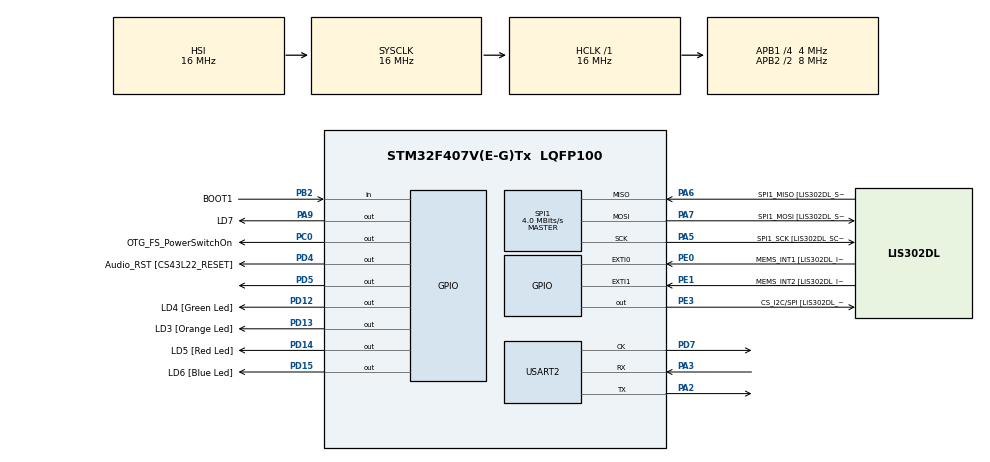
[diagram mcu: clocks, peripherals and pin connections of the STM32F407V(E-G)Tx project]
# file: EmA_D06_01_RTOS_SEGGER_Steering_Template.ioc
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Mcu.Family=STM32F4
Mcu.Name=STM32F407V(E-G)Tx
Mcu.Package=LQFP100
NVIC.EXTI0_IRQn=true\:7\:0\:true\:false\:true\:true\:true\:true
NVIC.PriorityGroup=NVIC_PRIORITYGROUP_4
NVIC.TIM6_DAC_IRQn=true\:5\:0\:true\:false\:true\:true\:true\:true
NVIC.TIM7_IRQn=true\:6\:0\:true\:false\:true\:true\:true\:true
NVIC.TIM8_UP_TIM13_IRQn=true\:15\:0\:false\:false\:true\:false\:true\:true
NVIC.TimeBase=TIM8_UP_TIM13_IRQn
NVIC.TimeBaseIP=TIM8
PA10.GPIO_Label=OTG_FS_ID
PA10.GPIO_Mode=GPIO_MODE_AF_PP
PA10.GPIO_PuPd=GPIO_NOPULL
PA10.GPIO_Speed=GPIO_SPEED_FREQ_LOW
PA10.Signal=USB_OTG_FS_ID
PA11.GPIO_Label=OTG_FS_DM
PA11.GPIO_Mode=GPIO_MODE_AF_PP
PA11.GPIO_PuPd=GPIO_NOPULL
PA11.GPIO_Speed=GPIO_SPEED_FREQ_LOW
PA11.Signal=USB_OTG_FS_DM
PA12.GPIO_Label=OTG_FS_DP
PA12.GPIO_Mode=GPIO_MODE_AF_PP
PA12.GPIO_PuPd=GPIO_NOPULL
PA12.GPIO_Speed=GPIO_SPEED_FREQ_LOW
PA12.Signal=USB_OTG_FS_DP
PA13.GPIO_Label=SWDIO
PA13.Mode=Serial_Wire
PA13.Signal=SYS_JTMS-SWDIO
PA14.GPIO_Label=SWCLK
PA14.Mode=Serial_Wire
PA14.Signal=SYS_JTCK-SWCLK
PA2.Mode=Synchronous
PA2.Signal=USART2_TX
PA3.Mode=Synchronous
PA3.Signal=USART2_RX
PA4.GPIO_Label=I2S3_WS [CS43L22_LRCK]
PA4.GPIO_Mode=GPIO_MODE_AF_PP
PA4.GPIO_PuPd=GPIO_NOPULL
PA4.GPIO_Speed=GPIO_SPEED_FREQ_LOW
PA4.Signal=I2S3_WS
PA5.GPIO_Label=SPI1_SCK [LIS302DL_SCL/SPC]
PA5.GPIO_Mode=GPIO_MODE_AF_PP
PA5.GPIO_PuPd=GPIO_NOPULL
PA5.GPIO_Speed=GPIO_SPEED_FREQ_LOW
PA5.Mode=Full_Duplex_Master
PA5.Signal=SPI1_SCK
PA6.GPIO_Label=SPI1_MISO [LIS302DL_SDO]
PA6.GPIO_Mode=GPIO_MODE_AF_PP
PA6.GPIO_PuPd=GPIO_NOPULL
PA6.GPIO_Speed=GPIO_SPEED_FREQ_LOW
PA6.Mode=Full_Duplex_Master
PA6.Signal=SPI1_MISO
PA7.GPIO_Label=SPI1_MOSI [LIS302DL_SDA/SDI/SDO]
PA7.GPIO_Mode=GPIO_MODE_AF_PP
PA7.GPIO_PuPd=GPIO_NOPULL
PA7.GPIO_Speed=GPIO_SPEED_FREQ_LOW
PA7.Mode=Full_Duplex_Master
PA7.Signal=SPI1_MOSI
PA9.GPIO_Label=LD7
PA9.PinState=GPIO_PIN_SET
PA9.Signal=GPIO_Output
PB10.GPIO_Label=CLK_IN [MP45DT02_CLK]
PB10.GPIO_Mode=GPIO_MODE_AF_PP
PB10.GPIO_PuPd=GPIO_NOPULL
PB10.GPIO_Speed=GPIO_SPEED_FREQ_LOW
PB10.Signal=I2S2_CK
PB2.GPIO_Label=BOOT1
PB2.GPIO_Mode=GPIO_MODE_INPUT
PB2.GPIO_PuPd=GPIO_NOPULL
PB2.Signal=GPIO_Input
PB3.GPIO_Label=SWO
PB3.Signal=SYS_JTDO-SWO
PB6.GPIO_Label=Audio_SCL [CS43L22_SCL]
PB6.GPIO_Mode=GPIO_MODE_AF_OD
PB6.GPIO_Pu=GPIO_PULLUP
PB6.GPIO_PuPd=GPIO_NOPULL
PB6.GPIO_Speed=GPIO_SPEED_FREQ_LOW
PB6.Signal=I2C1_SCL
PB9.GPIO_Label=Audio_SDA [CS43L22_SDA]
PB9.GPIO_Mode=GPIO_MODE_AF_OD
PB9.GPIO_Pu=GPIO_PULLUP
PB9.GPIO_PuPd=GPIO_NOPULL
PB9.GPIO_Speed=GPIO_SPEED_FREQ_LOW
PB9.Signal=I2C1_SDA
PC0.GPIO_Label=OTG_FS_PowerSwitchOn
PC0.GPIO_PuPd=GPIO_NOPULL
PC0.GPIO_Speed=GPIO_SPEED_FREQ_LOW
PC0.PinState=GPIO_PIN_RESET
PC0.Signal=GPIO_Output
PC10.GPIO_Label=I2S3_SCK [CS43L22_SCLK]
PC10.GPIO_Mode=GPIO_MODE_AF_PP
PC10.GPIO_PuPd=GPIO_NOPULL
PC10.GPIO_Speed=GPIO_SPEED_FREQ_LOW
PC10.Signal=I2S3_CK
PC12.GPIO_Label=I2S3_SD [CS43L22_SDIN]
PC12.GPIO_Mode=GPIO_MODE_AF_PP
PC12.GPIO_PuPd=GPIO_NOPULL
PC12.GPIO_Speed=GPIO_SPEED_FREQ_LOW
PC12.Signal=I2S3_SD
PC14-OSC32_IN.GPIO_Label=PC14-OSC32_IN
PC14-OSC32_IN.Mode=LSE-External-Oscillator
PC14-OSC32_IN.Signal=RCC_OSC32_IN
PC15-OSC32_OUT.GPIO_Label=PC15-OSC32_OUT
PC15-OSC32_OUT.Mode=LSE-External-Oscillator
PC15-OSC32_OUT.Signal=RCC_OSC32_OUT
PC3.GPIO_Label=PDM_OUT [MP45DT02_DOUT]
PC3.GPIO_Mode=GPIO_MODE_AF_PP
PC3.GPIO_PuPd=GPIO_NOPULL
PC3.GPIO_Speed=GPIO_SPEED_FREQ_LOW
PC3.Signal=I2S2_SD
PC7.GPIO_Label=I2S3_MCK [CS43L22_MCLK]
PC7.GPIO_Mode=GPIO_MODE_AF_PP
PC7.GPIO_PuPd=GPIO_NOPULL
PC7.GPIO_Speed=GPIO_SPEED_FREQ_LOW
PC7.Signal=I2S3_MCK
PD12.GPIO_Label=LD4 [Green Led]
PD12.GPIO_PuPd=GPIO_NOPULL
PD12.GPIO_Speed=GPIO_SPEED_FREQ_LOW
PD12.Signal=GPIO_Output
PD13.GPIO_Label=LD3 [Orange Led]
PD13.GPIO_PuPd=GPIO_NOPULL
PD13.GPIO_Speed=GPIO_SPEED_FREQ_LOW
PD13.Signal=GPIO_Output
PD14.GPIO_Label=LD5 [Red Led]
PD14.GPIO_PuPd=GPIO_NOPULL
PD14.GPIO_Speed=GPIO_SPEED_FREQ_LOW
PD14.Signal=GPIO_Output
PD15.GPIO_Label=LD6 [Blue Led]
PD15.GPIO_PuPd=GPIO_NOPULL
PD15.GPIO_Speed=GPIO_SPEED_FREQ_LOW
PD15.Signal=GPIO_Output
PD4.GPIO_Label=Audio_RST [CS43L22_RESET]
PD4.GPIO_PuPd=GPIO_NOPULL
PD4.GPIO_Speed=GPIO_SPEED_FREQ_LOW
PD4.Signal=GPIO_Output
PD5.PinState=GPIO_PIN_SET
PD5.Signal=GPIO_Output
PD7.Mode=Synchronous
PD7.Signal=USART2_CK
PE0.GPIO_Label=MEMS_INT1 [LIS302DL_INT1]
PE0.GPIO_ModeDefaultEXTI=GPIO_MODE_IT_RISING
PE0.GPIO_PuPd=GPIO_NOPULL
PE0.Signal=GPXTI0
PE1.GPIO_Label=MEMS_INT2 [LIS302DL_INT2]
PE1.GPIO_ModeDefaultEXTI=GPIO_MODE_EVT_RISING
PE1.GPIO_PuPd=GPIO_NOPULL
PE1.Signal=GPXTI1
PE3.GPIO_Label=CS_I2C/SPI [LIS302DL_CS_I2C/SPI]
PE3.GPIO_PuPd=GPIO_NOPULL
PE3.GPIO_Speed=GPIO_SPEED_FREQ_LOW
PE3.Signal=GPIO_Output
PH0-OSC_IN.GPIO_Label=PH0-OSC_IN
PH0-OSC_IN.Mode=HSE-External-Oscillator
PH0-OSC_IN.Signal=RCC_OSC_IN
PH1-OSC_OUT.GPIO_Label=PH1-OSC_OUT
PH1-OSC_OUT.Mode=HSE-External-Oscillator
PH1-OSC_OUT.Signal=RCC_OSC_OUT
ProjectManager.HeapSize=0x200
ProjectManager.StackSize=0x400
ProjectManager.TargetToolchain=STM32CubeIDE
RCC.48MHZClocksFreq_Value=48000000
RCC.AHBFreq_Value=16000000
RCC.APB1CLKDivider=RCC_HCLK_DIV4
RCC.APB1Freq_Value=4000000
RCC.APB1TimFreq_Value=8000000
RCC.APB2CLKDivider=RCC_HCLK_DIV2
RCC.APB2Freq_Value=8000000
RCC.APB2TimFreq_Value=16000000
RCC.CortexFreq_Value=16000000
RCC.HCLKFreq_Value=16000000
RCC.HSE_VALUE=8000000
RCC.HSI_VALUE=16000000
RCC.PLLI2SN=50
RCC.PLLM=4
RCC.PLLN=168
RCC.PLLQ=7
RCC.PLLSourceVirtual=RCC_PLLSOURCE_HSE
RCC.SYSCLKFreq_VALUE=16000000
RCC.VCOOutputFreq_Value=336000000
SPI1.BaudRatePrescaler-Full_Duplex_Master=SPI_BAUDRATEPRESCALER_2
SPI1.CalculateBaudRate=4.0 MBits/s
SPI1.CalculateBaudRate-Full_Duplex_Master=42.0 MBits/s
SPI1.Direction=SPI_DIRECTION_2LINES
SPI1.Mode=SPI_MODE_MASTER
SPI1.Mode-Full_Duplex_Master=SPI_MODE_MASTER
SPI1.VirtualType=VM_MASTER
TIM6.AutoReloadPreload=TIM_AUTORELOAD_PRELOAD_ENABLE
TIM6.Period=5000
TIM6.Prescaler=8000
TIM6.TIM_MasterOutputTrigger=TIM_TRGO_RESET
TIM7.AutoReloadPreload=TIM_AUTORELOAD_PRELOAD_ENABLE
TIM7.Period=2000
TIM7.Prescaler=8000
USART2.VirtualMode=VM_SYNC
VP_RNG_VS_RNG.Mode=RNG_Activate
VP_SYS_VS_tim8.Mode=TIM8
VP_TIM6_VS_ClockSourceINT.Mode=Enable_Timer
VP_TIM6_VS_OPM.Mode=OPM_bit
VP_TIM7_VS_ClockSourceINT.Mode=Enable_Timer
VP_TIM7_VS_OPM.Mode=OPM_bit
board=STM32F407G-DISC1

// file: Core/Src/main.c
/* USER CODE BEGIN Header */
/**
 ******************************************************************************
 * @file           : main.c
 * @brief          : Main program body
 ******************************************************************************
 * @attention
 *
 * <h2><center>&copy; Copyright (c) 2021 STMicroelectronics.
 * All rights reserved.</center></h2>
 *
 * This software component is licensed by ST under Ultimate Liberty license
 * SLA0044, the "License"; You may not use this file except in compliance with
 * the License. You may obtain a copy of the License at:
 *                             www.st.com/SLA0044
 *
 ******************************************************************************
 */
/* USER CODE END Header */
#include "main.h"

/* USER CODE BEGIN Includes */
#include "FreeRTOS.h"
#include "task.h"
#include "stdio.h"

#include "tasks.h"
#include "MEMS_sensor.h"
/* USER CODE END Includes */

/* USER CODE BEGIN PV */
#define DWT_CTRL	(*(volatile uint32_t*) 0xE0001000)
/* USER CODE END PV */

void SystemClock_Config(void);
/* USER CODE BEGIN PFP */

void ITM_print(const char* msg, const uint8_t len);

extern void SEGGER_UART_init(unsigned long baud);
/* USER CODE END PFP */

int main(void)
{
  /* USER CODE BEGIN 1 */

	BaseType_t status;
  /* USER CODE END 1 */

  /* MCU Configuration--------------------------------------------------------*/

  /* Reset of all peripherals, Initializes the Flash interface and the Systick. */
  HAL_Init();

  /* Configure the system clock */
  SystemClock_Config();

  /* Initialize all configured peripherals */
  MX_GPIO_Init();
  MX_SPI1_Init();
  MX_RNG_Init();
  MX_TIM6_Init();
  MX_TIM7_Init();
  MX_USART2_Init();
  /* USER CODE BEGIN 2 */
	DWT_CTRL |= (1 << 0);

	SEGGER_SYSVIEW_Conf();
	SEGGER_SYSVIEW_Start();

	status = xTaskCreate(task_control,"Control",200, NULL, 3, &task1_Control_handle);
	status = xTaskCreate(task_mems,"MEMS",200, NULL, 3, &task2_MEMS_handle);
	status = xTaskCreate(task_led,"LED",200, NULL, 3, &task3_LED_handle);

	configASSERT(status==pdPASS);

	HAL_NVIC_EnableIRQ(EXTI0_IRQn);

	vTaskStartScheduler();
  /* USER CODE END 2 */

  /* Infinite loop */
	while (1)
	{

	}
}

void SystemClock_Config(void)
{
  RCC_OscInitTypeDef RCC_OscInitStruct = {0};
  RCC_ClkInitTypeDef RCC_ClkInitStruct = {0};

  /** Configure the main internal regulator output voltage
  */
  __HAL_RCC_PWR_CLK_ENABLE();
  __HAL_PWR_VOLTAGESCALING_CONFIG(PWR_REGULATOR_VOLTAGE_SCALE1);
  /** Initializes the RCC Oscillators according to the specified parameters
  * in the RCC_OscInitTypeDef structure.
  */
  RCC_OscInitStruct.OscillatorType = RCC_OSCILLATORTYPE_HSI|RCC_OSCILLATORTYPE_HSE;
  RCC_OscInitStruct.HSEState = RCC_HSE_ON;
  RCC_OscInitStruct.HSIState = RCC_HSI_ON;
  RCC_OscInitStruct.HSICalibrationValue = RCC_HSICALIBRATION_DEFAULT;
  RCC_OscInitStruct.PLL.PLLState = RCC_PLL_ON;
  RCC_OscInitStruct.PLL.PLLSource = RCC_PLLSOURCE_HSE;
  RCC_OscInitStruct.PLL.PLLM = 4;
  RCC_OscInitStruct.PLL.PLLN = 168;
  RCC_OscInitStruct.PLL.PLLP = RCC_PLLP_DIV2;
  RCC_OscInitStruct.PLL.PLLQ = 7;
  if (HAL_RCC_OscConfig(&RCC_OscInitStruct) != HAL_OK)
  {
    Error_Handler();
  }
  /** Initializes the CPU, AHB and APB buses clocks
  */
  RCC_ClkInitStruct.ClockType = RCC_CLOCKTYPE_HCLK|RCC_CLOCKTYPE_SYSCLK
                              |RCC_CLOCKTYPE_PCLK1|RCC_CLOCKTYPE_PCLK2;
  RCC_ClkInitStruct.SYSCLKSource = RCC_SYSCLKSOURCE_HSI;
  RCC_ClkInitStruct.AHBCLKDivider = RCC_SYSCLK_DIV1;
  RCC_ClkInitStruct.APB1CLKDivider = RCC_HCLK_DIV4;
  RCC_ClkInitStruct.APB2CLKDivider = RCC_HCLK_DIV2;

  if (HAL_RCC_ClockConfig(&RCC_ClkInitStruct, FLASH_LATENCY_0) != HAL_OK)
  {
    Error_Handler();
  }
}

/* USER CODE BEGIN 4 */
void HAL_GPIO_EXTI_Callback(uint16_t GPIO_Pin) {
	task_ext_callback(GPIO_Pin);
}
/* USER CODE END 4 */

void HAL_TIM_PeriodElapsedCallback(TIM_HandleTypeDef *htim)
{
  if (htim->Instance == TIM8) {
    HAL_IncTick();
  }
  /* USER CODE BEGIN Callback 1 */
  task_timer_callback(htim);
  /* USER CODE END Callback 1 */
}

void Error_Handler(void)
{
	__disable_irq();
	while (1)
	{
	}
}

/************************ (C) COPYRIGHT STMicroelectronics *****END OF FILE****/
